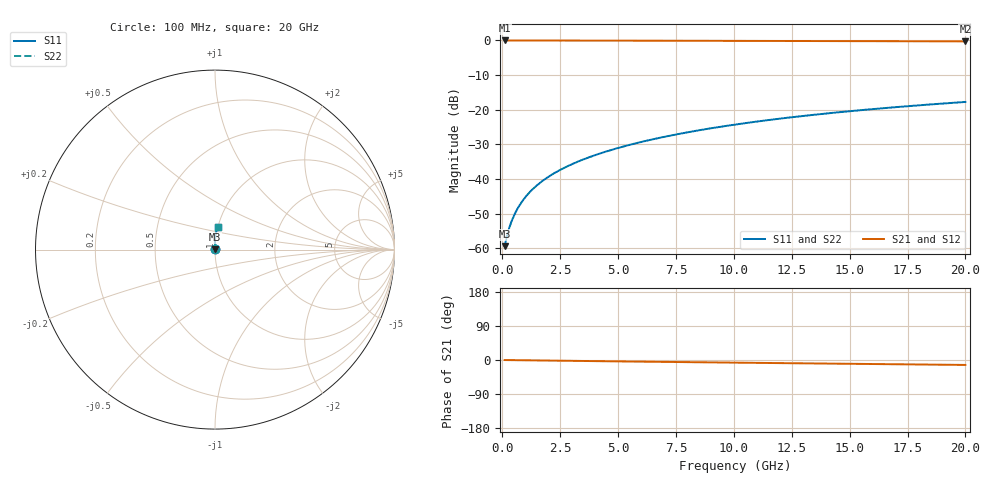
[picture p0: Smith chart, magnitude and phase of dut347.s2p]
! Touchstone file exported from HFSS 2024.1.0
!  File:  C:/UserFiles/LocalFiles/RDL_TSV_Batchsim/temp_RDL_top_347_1779608000.aedt
!  Generated:  03:35:51 PM May 24, 2026
!  Design:  RDL_top
!  Project:  temp_RDL_top_347_1779608000
!  Setup:  Setup1
!  Solution:  Sweep
! Variables:
!  dtsv = 10.80580581um
!  hbump = 3um
!  htsv = 56.49um
!  ldown = 100um
!  lrdl = 177.54um
!  p = 40
!  p1 = 43.16um
!  rhole = 1um
!  t = 450um
!  tdown = 3.915915916um
!  trdl = 3.96um
!  wdown = 15.38538539um
!  wrdl = 23.4um
# GHz S MA R 50.000000
! Terminal data exported
! Port[1] = Box2_T1
! Port[2] = Box2_T2
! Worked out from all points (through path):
!   200 points, 100 MHz to 20 GHz, reference 50 ohm
!   highest |S21| = -0.01 dB at 100 MHz (marker M1); lowest = -0.3 dB at 20 GHz (marker M2)
!   group delay of S21, straight-line fit = 1.79 ps
!   lowest |S11| = -59.4 dB at 100 MHz (marker M3), VSWR 1.00, Z = 50.1 + j0.0608 ohm
!   |S11| at or under -10 dB: start of sweep to end of sweep
!   |S22| runs from -59.4 to -17.8 dB; largest |S21 - S12| = 3e-15
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0.1  0.001073 34.5  0.9991 -0.1  0.9991 -0.1  0.001073 34.5
! Gamma 0 0 0 0
! Port Impedance 50 0 50 0
0.2  0.001499 51.4  0.9991 -0.2  0.9991 -0.2  0.001499 51.4
0.3  0.001965 60.3  0.999 -0.2  0.999 -0.2  0.001966 60.3
0.4  0.002446 66.0  0.9989 -0.3  0.9989 -0.3  0.002446 66.0
0.5  0.002938 70.0  0.9989 -0.4  0.9989 -0.4  0.002938 69.9
0.6  0.003438 72.9  0.9988 -0.5  0.9988 -0.5  0.003438 72.9
0.8  0.004457 76.9  0.9987 -0.6  0.9987 -0.6  0.004456 76.9
1.1  0.006013 80.6  0.9986 -0.8  0.9986 -0.8  0.006013 80.6
1.5  0.008121 83.6  0.9983 -1.1  0.9983 -1.1  0.008121 83.6
1.8  0.009723 85.1  0.9981 -1.4  0.9981 -1.4  0.009723 85.1
2.1  0.01134 86.2  0.9978 -1.6  0.9978 -1.6  0.01134 86.2
2.7  0.01464 87.9  0.9971 -2.0  0.9971 -2.0  0.01464 87.9
3.5  0.01915 89.4  0.996 -2.6  0.996 -2.6  0.01915 89.4
4.2  0.02323 90.2  0.9949 -3.1  0.9949 -3.1  0.02323 90.2
5  0.02803 90.8  0.9936 -3.7  0.9936 -3.7  0.02803 90.8
6.8  0.03934 91.3  0.9904 -4.9  0.9904 -4.9  0.03934 91.3
8.4  0.04986 91.0  0.9875 -5.9  0.9875 -5.9  0.04986 91.0
10.1  0.06135 90.2  0.9845 -7.0  0.9845 -7.0  0.06135 90.2
11.7  0.07234 89.2  0.9818 -8.0  0.9818 -8.0  0.07234 89.2
13.4  0.0841 88.0  0.9791 -9.1  0.9791 -9.1  0.0841 88.0
16.7  0.1069 85.5  0.9741 -11.1  0.9741 -11.1  0.1069 85.5
20  0.1295 83.0  0.9693 -13.0  0.9693 -13.0  0.1295 83.0
